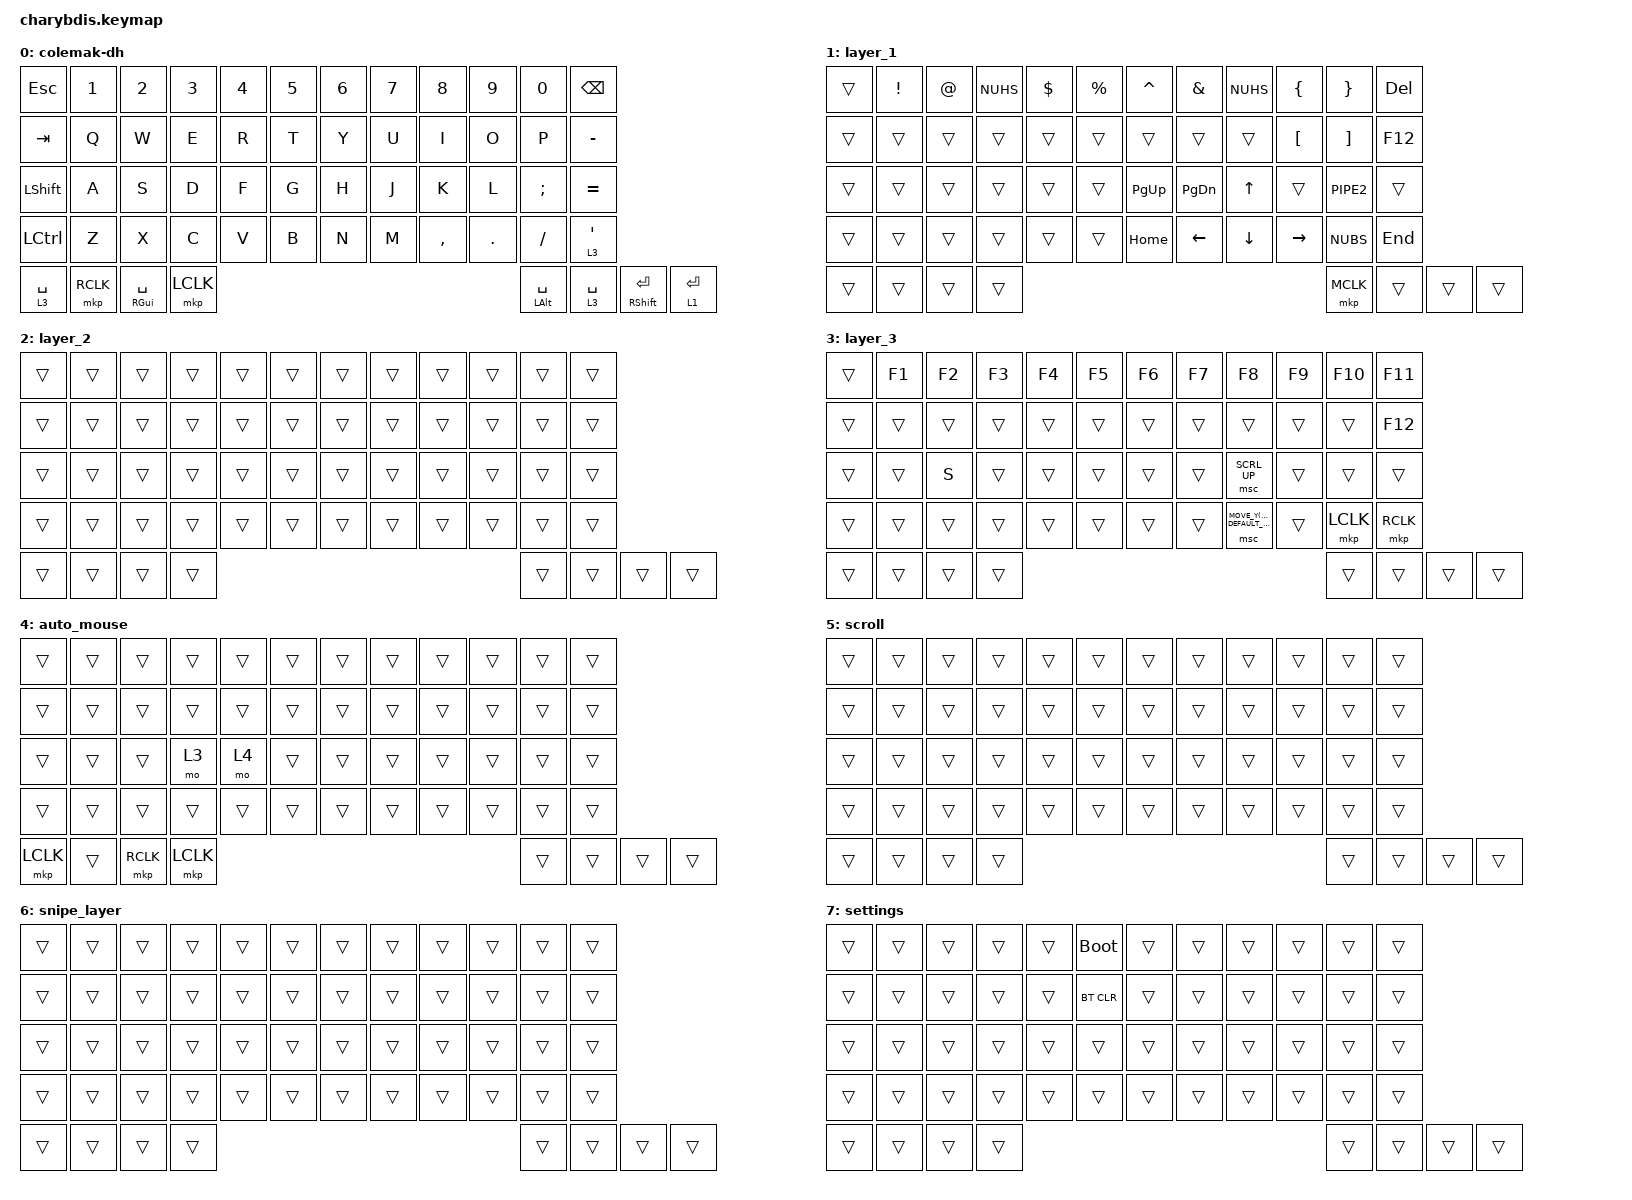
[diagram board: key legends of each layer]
#define ZMK_POINTING_DEFAULT_MOVE_VAL 1500  // default: 600
#define ZMK_POINTING_DEFAULT_SCRL_VAL 1    // default: 10

#undef  SCRL_UP
#undef  SCRL_DOWN
#define SCRL_UP MOVE_Y(-ZMK_POINTING_DEFAULT_SCRL_VAL)
#define SCRL_DOWN MOVE_Y(ZMK_POINTING_DEFAULT_SCRL_VAL)


#include <behaviors/mouse_keys.dtsi>
#include <dt-bindings/zmk/mouse.h>
#include <behaviors.dtsi>
#include <dt-bindings/zmk/bt.h>
#include <dt-bindings/zmk/keys.h>
#include <dt-bindings/zmk/input_transform.h>

/ {
    keymap {
       compatible = "zmk,keymap";
        colemak-dh {
            bindings = <
&kp ESC    &kp N1  &kp N2     &kp N3     &kp N4          &kp N5          &kp N6  &kp N7  &kp N8     &kp N9    &kp N0    &kp BSPC
&kp TAB    &kp Q   &kp W      &kp E      &kp R           &kp T           &kp Y   &kp U   &kp I      &kp O     &kp P     &kp MINUS
&kp LSHIFT  &kp A   &kp S      &kp D      &kp F           &kp G           &kp H   &kp J   &kp K      &kp L     &kp SEMI  &kp EQUAL
&kp LCTRL  &kp Z   &kp X      &kp C      &kp V           &kp B           &kp N   &kp M   &kp COMMA  &kp DOT   &kp FSLH  &lt 3 SQT
&lt 3 SPACE  &mkp RCLK        &mt RGUI SPACE  &mkp LCLK   &mt LEFT_ALT SPACE                                  &lt 3 SPACE  &mt RSHIFT ENTER &lt 1 ENTER

            >;
        };

        layer_1 {
            bindings = <
&trans  &kp EXCLAMATION  &kp AT_SIGN  &kp NUHS  &kp DOLLAR  &kp PERCENT          &kp CARET    &kp AMPERSAND    &kp NUHS  &kp LBRC   &kp RBRC  &kp DEL
&trans  &trans  &trans  &trans  &trans  &trans          &trans    &trans    &trans    &kp LBKT    &kp RBKT   &kp F12
&trans  &trans  &trans  &trans  &trans  &trans          &kp PG_UP &kp PG_DN &kp UP    &trans     &kp PIPE2    &trans
&trans  &trans  &trans  &trans  &trans  &trans          &kp HOME  &kp LEFT  &kp DOWN  &kp RIGHT  &kp NUBS  &kp END
&trans  &trans  &trans  &trans  &mkp MCLK                                                &trans     &trans    &trans
            >;
        };

        layer_2 {
            bindings = <
&trans  &trans  &trans  &trans  &trans  &trans         &trans  &trans  &trans  &trans  &trans   &trans
&trans  &trans  &trans  &trans  &trans  &trans          &trans    &trans    &trans    &trans     &trans   &trans
&trans  &trans  &trans  &trans  &trans  &trans          &trans  &trans  &trans  &trans  &trans  &trans
&trans  &trans  &trans  &trans  &trans  &trans          &trans  &trans  &trans  &trans  &trans  &trans
&trans  &trans  &trans  &trans  &trans                                                &trans     &trans   &trans
            >;
        };        

        layer_3 {
            bindings = <
&trans  &kp F1  &kp F2  &kp F3  &kp F4  &kp F5          &kp F6    &kp F7    &kp F8    &kp F9     &kp F10  &kp F11
&trans  &trans  &trans  &trans  &trans  &trans          &trans    &trans    &trans    &trans     &trans   &kp F12
&trans  &trans  &kp S  &trans  &trans  &trans          &trans  &trans  &msc SCRL_UP  &trans  &trans  &trans
&trans  &trans  &trans  &trans  &trans  &trans          &trans  &trans  &msc SCRL_DOWN  &trans  &mkp LCLK  &mkp RCLK
&trans  &trans  &trans  &trans  &trans                                                &trans     &trans   &trans
            >;
        };
        auto_mouse {



            bindings = <
&trans     &trans     &trans          &trans     &trans        &trans          &trans  &trans  &trans  &trans  &trans  &trans
&trans     &trans     &trans          &trans     &trans        &trans          &trans  &trans  &trans  &trans  &trans  &trans
&trans     &trans     &trans          &mo 3      &mo 4         &trans          &trans  &trans  &trans  &trans  &trans  &trans
&trans     &trans     &trans          &trans     &trans        &trans          &trans  &trans  &trans  &trans  &trans  &trans
&mkp LCLK  &trans &mkp RCLK &mkp LCLK &trans                                          &trans  &trans  &trans

            >;
        };

        scroll {
           
            bindings = <
&trans  &trans  &trans  &trans  &trans  &trans          &trans  &trans  &trans  &trans  &trans  &trans
&trans  &trans  &trans  &trans  &trans  &trans          &trans  &trans  &trans  &trans  &trans  &trans
&trans  &trans  &trans  &trans  &trans  &trans          &trans  &trans  &trans  &trans  &trans  &trans
&trans  &trans  &trans  &trans  &trans  &trans          &trans  &trans  &trans  &trans  &trans  &trans
&trans  &trans  &trans  &trans  &trans                                          &trans  &trans  &trans
            >;
        };

        snipe_layer {
            bindings = <
&trans  &trans  &trans  &trans  &trans  &trans          &trans  &trans  &trans  &trans  &trans  &trans
&trans  &trans  &trans  &trans  &trans  &trans          &trans  &trans  &trans  &trans  &trans  &trans
&trans  &trans  &trans  &trans  &trans  &trans          &trans  &trans  &trans  &trans  &trans  &trans
&trans  &trans  &trans  &trans  &trans  &trans          &trans  &trans  &trans  &trans  &trans  &trans
&trans  &trans  &trans  &trans  &trans                                          &trans  &trans  &trans
            >;
        };

        settings {
            bindings = <
&trans  &trans  &trans  &trans  &trans  &bootloader          &trans  &trans  &trans  &trans  &trans  &trans
&trans  &trans  &trans  &trans  &trans  &bt BT_CLR           &trans  &trans  &trans  &trans  &trans  &trans
&trans  &trans  &trans  &trans  &trans  &trans               &trans  &trans  &trans  &trans  &trans  &trans
&trans  &trans  &trans  &trans  &trans  &trans               &trans  &trans  &trans  &trans  &trans  &trans
&trans  &trans  &trans  &trans  &trans                                               &trans  &trans  &trans
            >;
        };
    };
};
